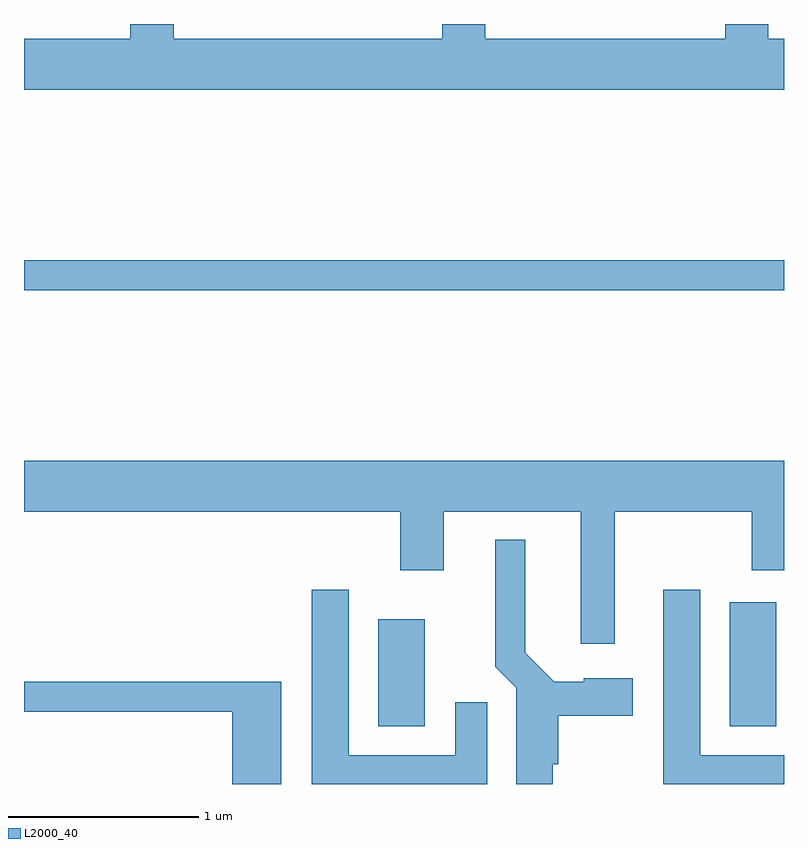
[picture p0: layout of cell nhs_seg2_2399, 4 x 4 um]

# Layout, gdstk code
import gdstk
lib = gdstk.Library(unit=1e-6, precision=1e-09)
def R(c, l, rs):  # rectangles x0, y0, x1, y1
    for r in rs: c.add(gdstk.rectangle(r[:2], r[2:], *l))
def P(c, l, *ps):  # polygons
    for p in ps: c.add(gdstk.Polygon(p, *l))
L2000_40 = (2000, 40)

nhs_seg2_2399 = lib.new_cell('nhs_seg2_2399')
R(nhs_seg2_2399, L2000_40, [(257.476,1016.106,257.719,1016.669), (259.326,1016.106,259.569,1016.759), (255.611,1018.401,259.611,1018.559)])
P(nhs_seg2_2399, L2000_40, [(259.611,1019.724),(259.529,1019.724),(259.529,1019.802),(259.301,1019.802),(259.301,1019.724),(258.039,1019.724),(258.039,1019.802),(257.811,1019.802),(257.811,1019.724),(256.399,1019.724),(256.399,1019.802),(256.171,1019.802),(256.171,1019.724),(255.611,1019.724),(255.611,1019.456),(259.611,1019.456)],
  [(258.719,1017.236),(259.441,1017.236),(259.441,1016.926),(259.611,1016.926),(259.611,1017.504),(255.611,1017.504),(255.611,1017.236),(257.591,1017.236),(257.591,1016.926),(257.819,1016.926),(257.819,1017.236),(258.541,1017.236),(258.541,1016.541),(258.719,1016.541)],
  [(258.394,1015.906),(258.424,1015.906),(258.424,1016.161),(258.814,1016.161),(258.814,1016.359),(258.556,1016.359),(258.556,1016.339),(258.402,1016.339),(258.249,1016.492),(258.249,1017.088),(258.091,1017.088),(258.091,1016.419),(258.201,1016.309),(258.201,1015.802),(258.394,1015.802)],
  [(258.049,1016.233),(257.881,1016.233),(257.881,1015.954),(257.319,1015.954),(257.319,1016.824),(257.126,1016.824),(257.126,1015.802),(258.049,1015.802)],
  [(259.611,1015.954),(259.169,1015.954),(259.169,1016.824),(258.976,1016.824),(258.976,1015.802),(259.611,1015.802)],
  [(256.964,1016.339),(255.611,1016.339),(255.611,1016.181),(256.706,1016.181),(256.706,1015.802),(256.964,1015.802)])

lib.write_gds('nhs_seg2_2399.gds')
